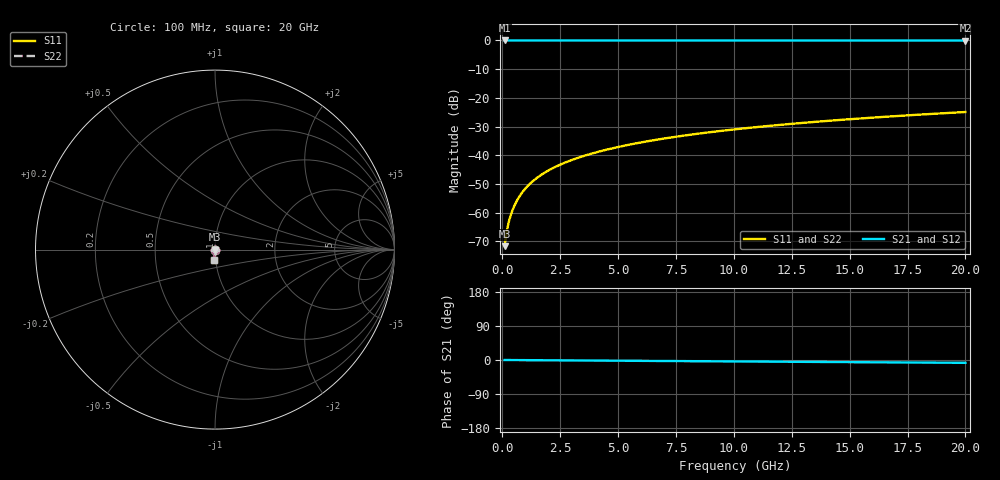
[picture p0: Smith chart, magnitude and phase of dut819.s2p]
! Touchstone file exported from HFSS 2026.1.0
!  File:  C:/ffzhzh/LocalFiles/Ansys_Project_Files/temp_train_TSV_819_1783184446_22436.aedt
!  Generated:  01:02:16 AM Jul  5, 2026
!  Design:  TSV
!  Project:  temp_train_TSV_819_1783184446_22436
! Variables:
!  h_bsmrdl = 2um
!  h_ox = 20um
!  h_rdl = 5um
!  h_sub = 70.84um
!  h_tmrdl = 5um
!  h_tsv = 70.84um
!  h_via = 3um
!  l_bsmrdl = 300um
!  l_sub = 422.42um
!  l_tmrdl = 200um
!  m_sub = 200um
!  pitch = 30.91um
!  r_tsv = 11.21um
!  s_tmrdl = 10um
!  w_bsmrdl = 18um
!  w_sub = 500um
!  w_tmrdl = 12um
!  x_tsv_center1 = 206um
!  x_tsv_center2 = 524um
!  x_tsv_center3 = 736um
!  x_tsv_center4 = 1054um
!  x_tsv_center5 = 1266um
!  x_tsv_center6 = 1584um
# GHz S MA R 50.000000
! Terminal data exported
! Port[1] = TSV1_1_T1
! Port[2] = TSV1_1_T2
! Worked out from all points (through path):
!   200 points, 100 MHz to 20 GHz, reference 50 ohm
!   highest |S21| = 0.00 dB at 100 MHz (marker M1); lowest = 0.0 dB at 20 GHz (marker M2)
!   group delay of S21, straight-line fit = 1.04 ps
!   lowest |S11| = -71.7 dB at 100 MHz (marker M3), VSWR 1.00, Z = 50 - j0.0236 ohm
!   |S11| at or under -10 dB: start of sweep to end of sweep
!   |S22| runs from -71.7 to -24.9 dB; largest |S21 - S12| = 5.2e-15
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0.1  0.0002598 -65.4  0.9999 -0.0  0.9999 -0.0  0.0002598 -65.4
! Gamma 0 0 0 0
! Port Impedance 50 0 50 0
0.2  0.0004925 -75.5  0.9999 -0.1  0.9999 -0.1  0.0004925 -75.5
0.3  0.0007388 -78.7  0.9999 -0.1  0.9999 -0.1  0.0007388 -78.7
0.4  0.0009947 -80.2  0.9998 -0.2  0.9998 -0.2  0.0009947 -80.2
0.5  0.001258 -81.1  0.9998 -0.2  0.9998 -0.2  0.001258 -81.1
0.7  0.001801 -82.4  0.9997 -0.3  0.9997 -0.3  0.001801 -82.4
0.8  0.002078 -82.9  0.9997 -0.3  0.9997 -0.3  0.002078 -82.9
1  0.002635 -83.8  0.9997 -0.4  0.9997 -0.4  0.002635 -83.8
1.2  0.003196 -84.5  0.9997 -0.5  0.9997 -0.5  0.003196 -84.5
1.4  0.003757 -85.1  0.9996 -0.5  0.9996 -0.5  0.003757 -85.1
1.7  0.004599 -85.9  0.9996 -0.7  0.9996 -0.7  0.004599 -85.9
2  0.00544 -86.4  0.9996 -0.8  0.9996 -0.8  0.00544 -86.4
2.7  0.007404 -87.4  0.9995 -1.0  0.9995 -1.0  0.007404 -87.4
3.5  0.009653 -88.2  0.9994 -1.3  0.9994 -1.3  0.009653 -88.2
4.2  0.01163 -88.8  0.9994 -1.6  0.9994 -1.6  0.01163 -88.8
5  0.01389 -89.3  0.9993 -1.9  0.9993 -1.9  0.01389 -89.3
6.8  0.019 -90.3  0.9991 -2.6  0.9991 -2.6  0.019 -90.3
8.3  0.02328 -91.1  0.9989 -3.1  0.9989 -3.1  0.02328 -91.1
10.1  0.02841 -92.0  0.9987 -3.8  0.9987 -3.8  0.02841 -92.0
13.4  0.03782 -93.5  0.9982 -5.0  0.9982 -5.0  0.03782 -93.5
16.7  0.04722 -94.8  0.9977 -6.3  0.9977 -6.3  0.04722 -94.8
20  0.05662 -96.2  0.9971 -7.5  0.9971 -7.5  0.05662 -96.2
